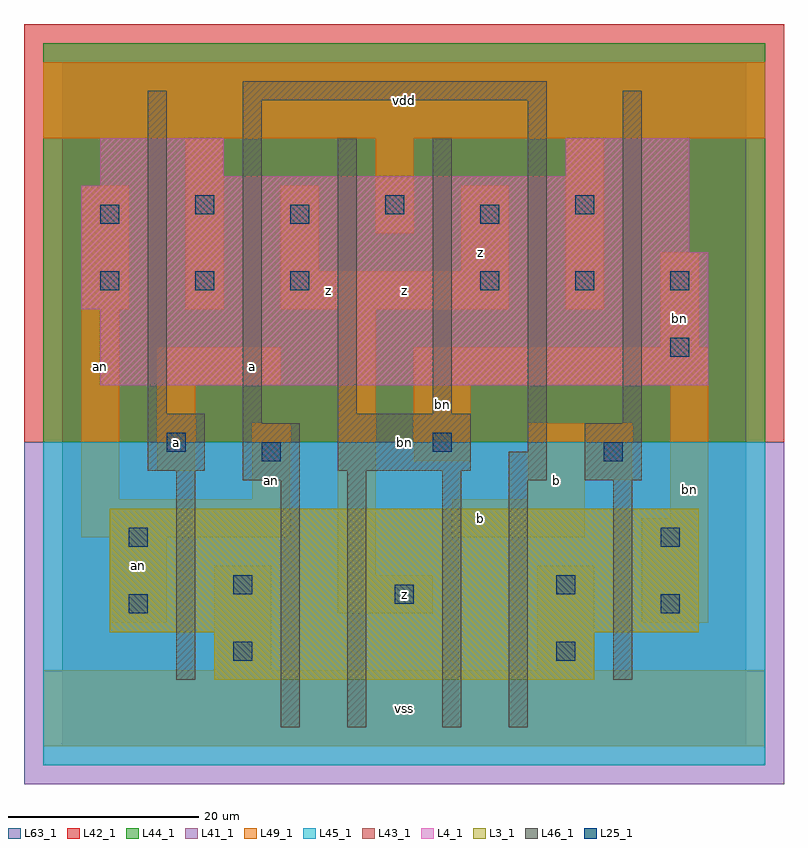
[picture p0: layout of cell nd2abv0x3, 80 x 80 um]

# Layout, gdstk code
import gdstk
lib = gdstk.Library(unit=1e-6, precision=1e-09)
def R(c, l, rs):  # rectangles x0, y0, x1, y1
    for r in rs: c.add(gdstk.rectangle(r[:2], r[2:], *l))
def A(c, l, x, y, w, h, nx, ny, dx, dy):  # array of equal rectangles
    R(c, l, [(x+i*dx, y+j*dy, x+i*dx+w, y+j*dy+h) for i in range(nx) for j in range(ny)])
L3_1 = (3, 1)
L4_1 = (4, 1)
L25_1 = (25, 1)
L41_1 = (41, 1)
L42_1 = (42, 1)
L43_1 = (43, 1)
L44_1 = (44, 1)
L45_1 = (45, 1)
L46_1 = (46, 1)
L49_1 = (49, 1)
L63_1 = (63, 1)

nd2abv0x3 = lib.new_cell('nd2abv0x3')
R(nd2abv0x3, L3_1, [(16,7,56,12), (5,12,67,25)])
R(nd2abv0x3, L4_1, [(4,38,68,46), (2,46,68,52), (2,52,66,59), (4,59,66,60), (4,60,17,64), (53,60,66,64)])
A(nd2abv0x3, L25_1, 4, 48, 2, 2, 3, 1, 10, 0)
A(nd2abv0x3, L25_1, 44, 48, 2, 2, 3, 1, 10, 0)
A(nd2abv0x3, L25_1, 4, 55, 2, 2, 3, 1, 20, 0)
A(nd2abv0x3, L25_1, 14, 56, 2, 2, 3, 1, 20, 0)
R(nd2abv0x3, L25_1, [(18,9,20,11), (52,9,54,11), (7,14,9,16), (63,14,65,16), (35,15,37,17), (18,16,20,18), (52,16,54,18), (7,21,9,23), (63,21,65,23), (21,30,23,32), (57,30,59,32), (11,31,13,33), (39,31,41,33), (64,41,66,43)])
R(nd2abv0x3, L41_1, [(-4,-4,76,32)])
R(nd2abv0x3, L42_1, [(-4,32,76,76)])
R(nd2abv0x3, L43_1, [(16,7,56,12), (5,12,67,25), (4,38,68,46), (2,46,68,52), (2,52,66,59), (4,59,66,60), (4,60,17,64), (53,60,66,64)])
R(nd2abv0x3, L44_1, [(-2,32,74,74)])
R(nd2abv0x3, L45_1, [(-2,-2,74,32)])
R(nd2abv0x3, L46_1, [(23,2,25,28), (30,2,32,29), (40,2,42,29), (47,2,49,28), (12,7,14,29), (58,7,60,28), (19,28,25,34), (47,28,51,31), (55,28,61,34), (9,29,15,35), (29,29,43,35), (49,31,51,68), (19,34,21,68), (59,34,61,69), (9,35,11,69), (29,35,31,64), (39,35,41,64), (19,68,51,70)])
R(nd2abv0x3, L49_1, [(-2,0,74,8), (16,8,22,19), (50,8,56,19), (5,13,11,22), (61,13,68,24), (29,14,39,18), (29,18,33,46), (2,22,24,26), (41,22,55,26), (64,24,68,38), (2,26,6,46), (20,26,24,34), (49,26,55,28), (49,28,60,34), (10,29,14,38), (37,30,43,38), (10,38,23,42), (37,38,68,42), (63,42,67,52), (2,46,7,59), (13,46,17,64), (23,46,47,50), (53,46,57,64), (23,50,27,59), (42,50,47,59), (33,54,37,64), (-2,64,74,72)])
R(nd2abv0x3, L63_1, [(0,0,72,72)])
nd2abv0x3.add(gdstk.Label('bn', (36,32), layer=46, texttype=1))
nd2abv0x3.add(gdstk.Label('an', (8,19), layer=49, texttype=1))
nd2abv0x3.add(gdstk.Label('a', (12,32), layer=49, texttype=1))
nd2abv0x3.add(gdstk.Label('an', (4,40), layer=49, texttype=1))
nd2abv0x3.add(gdstk.Label('an', (22,28), layer=49, texttype=1))
nd2abv0x3.add(gdstk.Label('a', (20,40), layer=49, texttype=1))
nd2abv0x3.add(gdstk.Label('z', (28,48), layer=49, texttype=1))
nd2abv0x3.add(gdstk.Label('vss', (36,4), layer=49, texttype=1))
nd2abv0x3.add(gdstk.Label('z', (36,16), layer=49, texttype=1))
nd2abv0x3.add(gdstk.Label('b', (44,24), layer=49, texttype=1))
nd2abv0x3.add(gdstk.Label('b', (52,28), layer=49, texttype=1))
nd2abv0x3.add(gdstk.Label('bn', (40,36), layer=49, texttype=1))
nd2abv0x3.add(gdstk.Label('z', (36,48), layer=49, texttype=1))
nd2abv0x3.add(gdstk.Label('z', (44,52), layer=49, texttype=1))
nd2abv0x3.add(gdstk.Label('vdd', (36,68), layer=49, texttype=1))
nd2abv0x3.add(gdstk.Label('bn', (65,45), layer=49, texttype=1))
nd2abv0x3.add(gdstk.Label('bn', (66,27), layer=49, texttype=1))

lib.write_gds('nd2abv0x3.gds')
